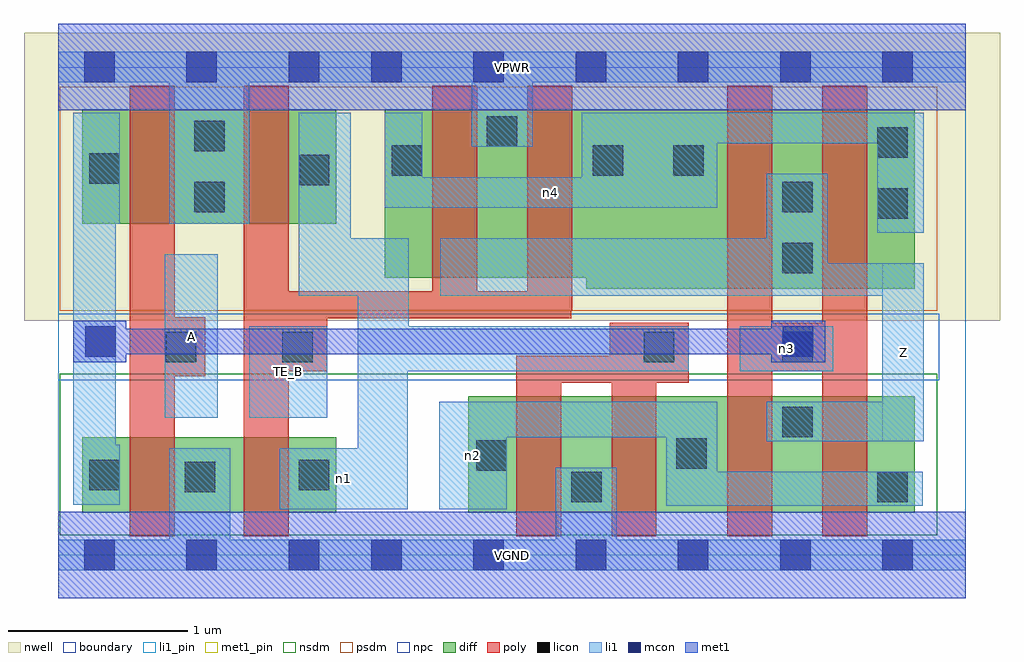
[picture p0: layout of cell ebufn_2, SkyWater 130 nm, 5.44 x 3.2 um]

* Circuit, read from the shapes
.subckt ebufn_2 A TE_B VGND VPWR Z n1 n2 n3 n4
XM1 VGND A n3 VSUBS sky130_fd_pr__nfet_01v8 w=0.42 l=0.25
XM2 n1 TE_B VGND VSUBS sky130_fd_pr__nfet_01v8 w=0.42 l=0.25
XM3 VGND n1 n2 VSUBS sky130_fd_pr__nfet_01v8 w=0.65 l=0.25 m=2
XM4 Z n3 n2 VSUBS sky130_fd_pr__nfet_01v8 w=0.65 l=0.25 m=2
XM5 VPWR A n3 n5 sky130_fd_pr__pfet_01v8 w=0.64 l=0.25
XM6 n1 TE_B VPWR n5 sky130_fd_pr__pfet_01v8 w=0.64 l=0.25
XM7 VPWR TE_B n4 n5 sky130_fd_pr__pfet_01v8 w=0.94 l=0.25 m=2
XM8 Z n3 n4 n5 sky130_fd_pr__pfet_01v8 w=1 l=0.25 m=2
.ends

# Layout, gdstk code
import gdstk
lib = gdstk.Library(unit=1e-6, precision=1e-09)
def R(c, l, rs):  # rectangles x0, y0, x1, y1
    for r in rs: c.add(gdstk.rectangle(r[:2], r[2:], *l))
def A(c, l, x, y, w, h, nx, ny, dx, dy):  # array of equal rectangles
    R(c, l, [(x+i*dx, y+j*dy, x+i*dx+w, y+j*dy+h) for i in range(nx) for j in range(ny)])
nwell = (64, 20)
diff = (65, 20)
poly = (66, 20)
licon = (66, 44)
li1_pin = (67, 16)
li1 = (67, 20)
mcon = (67, 44)
met1_pin = (68, 16)
met1 = (68, 20)
nsdm = (93, 44)
psdm = (94, 20)
npc = (95, 20)
boundary = (235, 4)

ebufn_2 = lib.new_cell('ebufn_2')
R(ebufn_2, nwell, [(-0.19,1.305,5.25,2.91), (0,1.305,5.06,2.91)])
R(ebufn_2, diff, [(0.135,0.235,1.55,0.655), (2.285,0.235,4.775,0.885), (2.945,1.485,4.775,2.485), (1.82,1.545,4.775,2.485), (0.135,1.845,1.55,2.485)])
R(ebufn_2, poly, [(0.4,0.105,0.65,2.615), (1.035,0.105,1.285,2.615), (2.555,0.105,2.805,1.11), (3.085,0.105,3.335,1.295), (3.73,0.105,3.98,2.615), (4.26,0.105,4.51,2.615), (2.555,0.96,3.515,1.11), (3.075,0.96,3.515,1.295), (0.4,0.995,0.82,1.325), (1.035,1.025,1.5,1.47), (3.73,1.025,4.51,1.295), (1.035,1.32,2.86,1.47), (2.085,1.32,2.335,2.615), (2.615,1.36,2.865,2.615)])
R(ebufn_2, licon, [(2.86,0.295,3.03,0.465), (4.565,0.295,4.735,0.465), (0.705,0.35,0.875,0.52), (0.175,0.36,0.345,0.53), (1.34,0.36,1.51,0.53), (2.33,0.47,2.5,0.64), (3.445,0.48,3.615,0.65), (4.035,0.655,4.205,0.825), (0.6,1.075,0.77,1.245), (1.25,1.075,1.42,1.245), (3.265,1.075,3.435,1.245), (4.035,1.075,4.205,1.245), (4.035,1.57,4.205,1.74), (4.565,1.875,4.735,2.045), (0.76,1.91,0.93,2.08), (4.035,1.91,4.205,2.08), (1.34,2.06,1.51,2.23), (0.175,2.07,0.345,2.24), (1.86,2.115,2.03,2.285), (2.98,2.115,3.15,2.285), (3.43,2.115,3.6,2.285), (4.565,2.215,4.735,2.385), (0.76,2.25,0.93,2.42), (2.39,2.275,2.56,2.445)])
R(ebufn_2, li1_pin, [(4.595,0.635,4.825,1.625), (0.595,0.765,0.89,1.675), (1.065,0.765,1.5,1.275)])
R(ebufn_2, li1, [(0,-0.085,5.06,0.085), (0.62,-0.085,0.96,0.595), (2.775,-0.085,3.115,0.485), (1.235,0.255,1.95,0.595), (1.67,0.255,1.95,1.765), (2.125,0.255,2.5,0.855), (3.39,0.275,4.82,0.465), (3.39,0.275,3.675,0.855), (0.085,0.28,0.32,2.465), (0.085,0.28,0.345,0.615), (3.95,0.635,4.825,0.855), (4.595,0.635,4.825,1.625), (2.125,0.655,3.675,0.855), (0.595,0.765,0.89,1.675), (1.065,0.765,1.5,1.275), (1.67,1.025,3.515,1.275), (1.67,1.025,1.955,1.765), (3.8,1.025,4.32,1.275), (1.34,1.445,1.63,2.465), (1.34,1.445,1.955,1.765), (2.13,1.445,4.29,1.765), (2.13,1.445,4.825,1.625), (3.95,1.445,4.29,2.125), (4.565,1.795,4.825,2.465), (0.085,1.845,0.345,2.465), (0.62,1.845,1.065,2.805), (1.82,1.935,3.675,2.105), (1.82,1.935,2.03,2.465), (2.92,1.935,3.675,2.465), (2.305,2.275,2.645,2.805), (2.92,2.295,4.825,2.465), (0,2.635,5.06,2.805)])
A(ebufn_2, mcon, 0.145, -0.085, 0.17, 0.17, 3, 2, 0.57, 2.72)
A(ebufn_2, mcon, 1.745, -0.085, 0.17, 0.17, 6, 2, 0.57, 2.72)
R(ebufn_2, mcon, [(0.15,1.105,0.32,1.275), (4.04,1.105,4.21,1.275)])
R(ebufn_2, met1_pin, [(0,-0.24,5.06,0.24), (0,2.48,5.06,2.96)])
R(ebufn_2, met1, [(0,-0.24,5.06,0.24), (0.085,1.075,0.38,1.305), (3.975,1.075,4.275,1.305), (0.085,1.12,4.275,1.26), (0,2.48,5.06,2.96)])
R(ebufn_2, nsdm, [(0.01,0.11,4.9,1.01)])
R(ebufn_2, psdm, [(0.01,1.36,4.9,2.61)])
R(ebufn_2, npc, [(0,0.975,4.91,1.345)])
R(ebufn_2, boundary, [(0,0,5.06,2.72)])
ebufn_2.add(gdstk.Label('A', (0.742,1.22), layer=67, texttype=5))
ebufn_2.add(gdstk.Label('TE_B', (1.282,1.02), layer=67, texttype=5))
ebufn_2.add(gdstk.Label('Z', (4.71,1.13), layer=67, texttype=5))
ebufn_2.add(gdstk.Label('n2', (2.312,0.555), layer=67, texttype=5))
ebufn_2.add(gdstk.Label('n3', (4.06,1.15), layer=67, texttype=5))
ebufn_2.add(gdstk.Label('n1', (1.592,0.425), layer=67, texttype=5))
ebufn_2.add(gdstk.Label('n4', (2.747,2.02), layer=67, texttype=5))
ebufn_2.add(gdstk.Label('VPWR', (2.53,2.72), layer=68, texttype=5))
ebufn_2.add(gdstk.Label('VGND', (2.53,0), layer=68, texttype=5))
ebufn_2.add(gdstk.Label('A', (0.742,1.22), layer=67, texttype=16))
ebufn_2.add(gdstk.Label('TE_B', (1.282,1.02), layer=67, texttype=16))
ebufn_2.add(gdstk.Label('Z', (4.71,1.13), layer=67, texttype=16))
ebufn_2.add(gdstk.Label('VPWR', (2.53,2.72), layer=68, texttype=16))
ebufn_2.add(gdstk.Label('VGND', (2.53,0), layer=68, texttype=16))

lib.write_gds('ebufn_2.gds')
